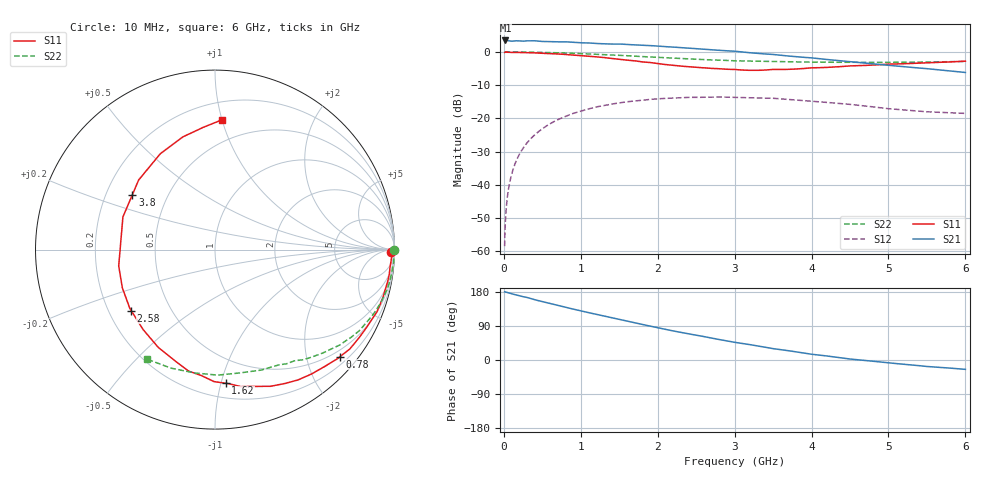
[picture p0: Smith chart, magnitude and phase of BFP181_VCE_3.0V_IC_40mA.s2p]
! Infineon Technologies  Discrete & RF Semiconductors
! BFP181
! VCE = 3.0 V,  IC =  40 mA
! Common Emitter S-Parameters:  Jan 2016
# GHz  S  MA  R  50
!  f  S11  S21  S12  S22
! GHz  MAG  ANG  MAG  ANG  MAG  ANG  MAG  ANG
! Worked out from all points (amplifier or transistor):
!   210 points, 10 MHz to 6 GHz, reference 50 ohm
!   highest |S21| = 3.4 dB at 20 MHz (marker M1)
!   |S21| within 3 dB of that: start of sweep to 2.822 GHz
!   unconditionally stable (mu >= 1): 3.756 GHz to end of sweep
!   at 185 MHz: K = 0.06, MSG = 17.4 dB, |S12| = -31.6 dB
!   at 1.52 GHz: K = 0.45, MSG = 8.8 dB, |S12| = -15.3 dB
!   at 6 GHz: K = 1.49, MAG = 2.0 dB, |S12| = -18.5 dB
!   S11 on the Smith chart (normalised r, x): 10 MHz: 75, -49; 780 MHz: 0.36, -2.66; 1.62 GHz: 0.31, -1.04; 2.58 GHz: 0.29, -0.30; 3.8 GHz: 0.31, +0.27; 6 GHz: 0.33, +1.00
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0.01  0.9814 -0.7  1.459 179.8  0.0012 83.8  0.9991 -0.2
0.015  0.9854 -0.9  1.471 179.7  0.002 86.3  0.9989 -0.3
0.02  0.9895 -1.1  1.484 179.7  0.0028 87.4  0.9988 -0.5
0.03  0.9882 -1.5  1.482 179.0  0.0043 88.5  0.9982 -0.8
0.045  0.9862 -2.1  1.481 177.9  0.0065 89.2  0.9975 -1.2
0.075  0.9825 -3.7  1.463 176.2  0.0107 86.8  0.9972 -2.0
0.125  0.9801 -6.6  1.457 173.5  0.0178 84.2  0.9974 -3.2
0.2  0.9786 -10.4  1.463 169.7  0.0286 82.7  0.9964 -5.1
0.3  0.9729 -15.9  1.465 165.1  0.0427 78.9  0.9935 -7.7
0.45  0.9585 -23.5  1.449 156.5  0.0631 72.8  0.987 -11.4
0.78  0.9169 -40.6  1.415 140.3  0.1046 60.4  0.9634 -19.5
1.02  0.8739 -53.1  1.367 128.8  0.1306 52.1  0.9392 -25.0
1.3  0.8219 -67.9  1.325 116.1  0.1564 42.5  0.9106 -31.3
1.62  0.747 -85.4  1.287 101.8  0.1787 33.0  0.8732 -37.6
2.02  0.6628 -108.7  1.214 84.3  0.1976 21.8  0.8265 -44.7
2.58  0.5774 -144.0  1.104 62.6  0.2074 7.7  0.7635 -54.2
3.1  0.533 -176.1  0.995 43.7  0.2054 -3.9  0.73 -62.6
3.5  0.5443 160.5  0.914 30.0  0.2006 -11.5  0.7189 -69.0
3.8  0.5525 146.5  0.846 21.5  0.1889 -15.8  0.7059 -74.6
4.1  0.5786 133.9  0.789 12.9  0.1778 -20.0  0.699 -80.6
5.1  0.6575 103.7  0.613 -9.4  0.137 -25.4  0.6962 -101.7
6  0.7243 86.9  0.49 -24.7  0.1188 -17.9  0.7178 -121.7
